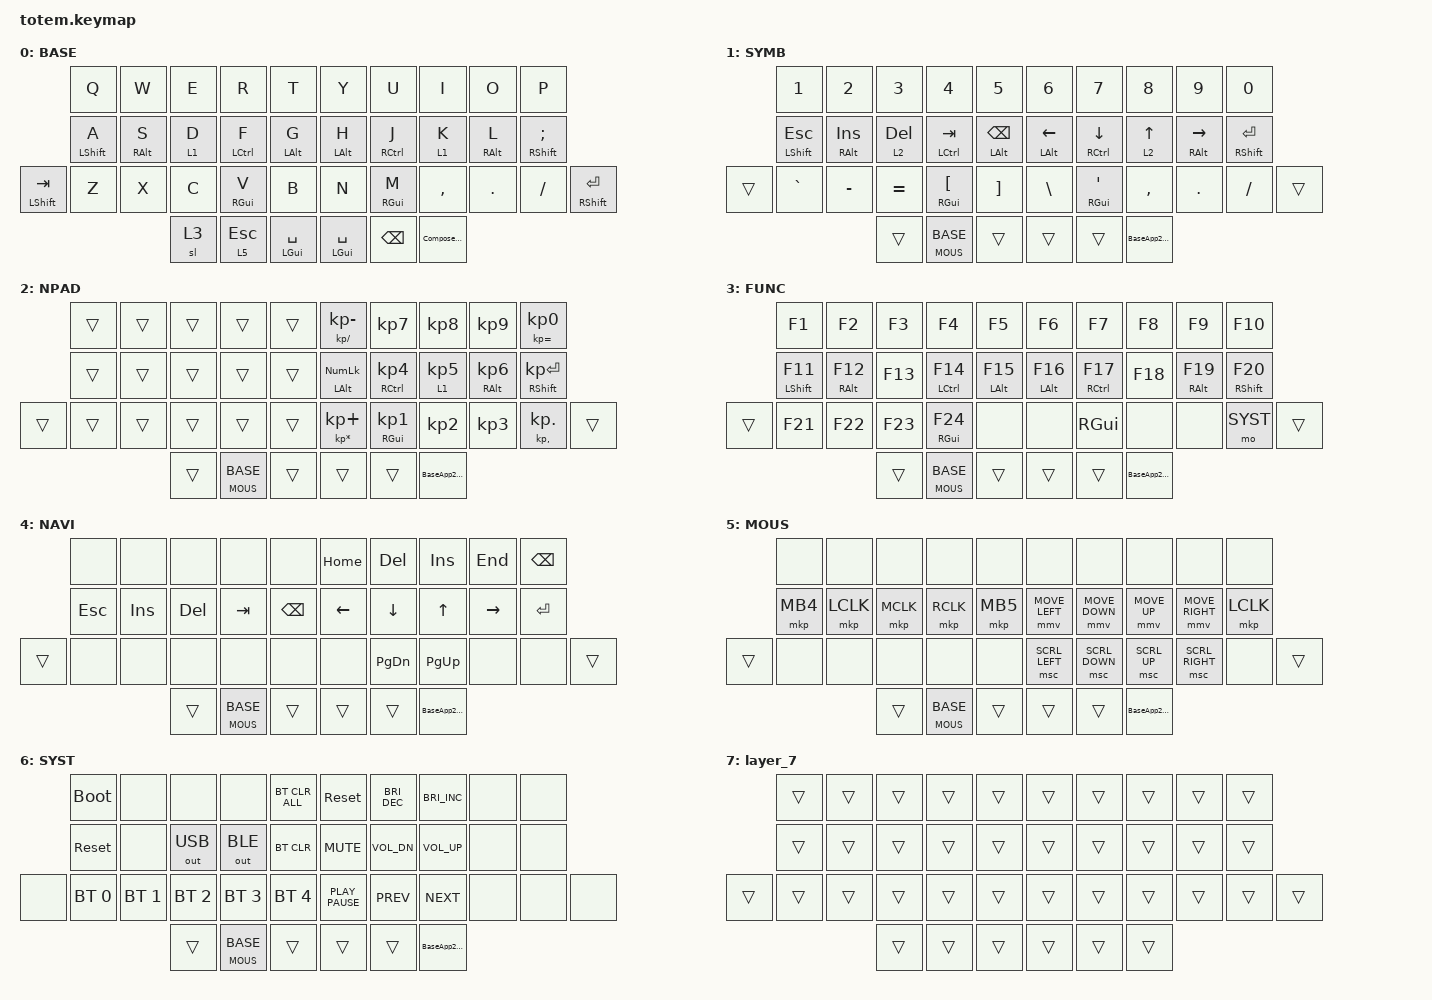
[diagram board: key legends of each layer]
//
//                                                        ▀▀▀▀▀     ▀▀▀▀▀          ▀▀█▀▀
//                                                        ▄▀▀▀▄  ▄  ▄▀▀▀▄  ▄  ▄▀▀▀▄  █  ▄▀▀▀▄
//                                                        █   █  █  █   █  █  █   █  █  █   █
//                                                         ▀▀▀   █   ▀▀▀   █   ▀▀▀   ▀   ▀▀▀
//                                                               █      ▄▄▄█▄▄▄    █   █  
//                                                               ▀      █  █  █     █▄█
//                                                             ▀▀▀▀▀    █  █  █      ▀
//                                                                      ▀  ▀  ▀
//
// ▄▄▄▄▄▄▄▄▄▄▄▄▄▄▄▄▄▄▄▄▄▄▄▄▄▄▄▄▄▄▄▄▄▄▄▄▄▄▄▄▄▄▄▄▄▄▄▄▄▄▄▄▄▄▄▄▄▄▄▄▄▄▄▄▄▄▄▄▄▄▄▄▄▄▄▄▄▄▄▄▄▄▄▄▄▄▄▄▄▄▄▄▄▄▄▄▄▄▄▄▄▄▄▄▄▄▄▄▄▄▄▄▄▄▄▄▄▄▄▄▄▄▄▄▄▄▄▄▄▄▄▄▄▄▄▄▄▄▄▄▄▄▄▄▄▄▄▄▄

#include <behaviors.dtsi>
#include <dt-bindings/zmk/bt.h>
#include <dt-bindings/zmk/keys.h>
#include <dt-bindings/zmk/outputs.h>
#include <dt-bindings/zmk/pointing.h>

#define KEYS_L 0 1 2 3 4  10 11 12 13 14  20 21 22 23 24 25  32 33 34 // left hand
#define KEYS_R 5 6 7 8 9  15 16 17 18 19  26 27 28 29 30 31  35 36 37 // right hand
#define BASE  0
#define SYMB  1
#define NPAD  2
#define FUNC  3
#define NAVI  4
#define MOUS  5
#define SYST  6

/ {
    combos {
        compatible = "zmk,combos";

        combo_caps2 {
            timeout-ms = <100>;
            key-positions = <20 31>; // Combo `right-shift+left-shift`
            bindings = <&kp CAPSLOCK>;
        };

        combo_npad {
            timeout-ms = <100>;
            key-positions = <28 29>; // Combo `,+.`
            bindings = <&to NPAD>;
        };

        combo_boot_left {
            timeout-ms = <100>;
            key-positions = <0 1 2 4>; // Combo `Q+W+E+T`
            bindings = <&bootloader>;
        };

        combo_boot_right {
            timeout-ms = <100>;
            key-positions = <5 7 8 9>; // Combo `Y+I+O+P`
            bindings = <&bootloader>;
        };

        // Cheapino keymap.c combo set (combos 0-5). Replaces the v1.6.0
        // combo_caps_v_esc (V+Esc) and combo_symbol_m_bspc (M+Backspace).

        combo_navi {
            // Cheapino combo 0: Space + Backspace -> one-shot NAVI. NAVI is
            // no longer on a Backspace hold (the nbs behaviour was removed).
            timeout-ms = <100>;
            key-positions = <35 36>; // Combo `thumb Space (right) + thumb Backspace`
            bindings = <&sl NAVI>;
        };

        combo_sys_left {
            // Cheapino combo 1: V + Space -> SYST while held
            timeout-ms = <100>;
            key-positions = <24 34>; // Combo `v + thumb Space (left)`
            bindings = <&mo SYST>;
        };

        combo_sys_right {
            // Cheapino combo 2: M + Space -> SYST while held
            timeout-ms = <100>;
            key-positions = <27 35>; // Combo `m + thumb Space (right)`
            bindings = <&mo SYST>;
        };

        combo_symbol {
            // Cheapino combo 3: Esc + Backspace -> toggle SYMB (TG(3))
            timeout-ms = <100>;
            key-positions = <33 36>; // Combo `thumb Esc + thumb Backspace`
            bindings = <&tog SYMB>;
        };

        combo_caps1 {
            // Cheapino combos 4/5: FUNC + Compose -> Caps Lock (same
            // positions on every layer, so one combo covers both)
            timeout-ms = <100>;
            key-positions = <32 37>; // Combo `fn + compose`
            bindings = <&kp CAPSLOCK>;
        };
    };

    behaviors {
        hml: home_row_mod_left {
            compatible = "zmk,behavior-hold-tap";
            #binding-cells = <2>;
            flavor = "balanced";
            require-prior-idle-ms = <150>;
            tapping-term-ms = <280>;
            quick-tap-ms = <175>;
            bindings = <&kp>, <&kp>;

            hold-trigger-key-positions = <KEYS_R>;
            hold-trigger-on-release;
        };

        hmr: home_row_mod_right {
            compatible = "zmk,behavior-hold-tap";
            #binding-cells = <2>;
            flavor = "balanced";
            require-prior-idle-ms = <150>;
            tapping-term-ms = <280>;
            quick-tap-ms = <175>;
            bindings = <&kp>, <&kp>;

            hold-trigger-key-positions = <KEYS_L>;
            hold-trigger-on-release;
        };

        hml2: home_row_mod_left2 {
            compatible = "zmk,behavior-hold-tap";
            #binding-cells = <2>;
            flavor = "balanced";
            require-prior-idle-ms = <150>;
            tapping-term-ms = <280>;
            quick-tap-ms = <175>;
            bindings = <&mo>, <&kp>;

            // KEYS_R plus 13 (F): same-hand exception so hold [D] (symbol
            // layer) + tap [F] (-> TAB on that layer) resolves instantly
            // instead of waiting out tapping-term-ms. Mirrors hmr2's J
            // exception below. Matches qmk-vial-src-musclememory-cheapino2
            // v1.5.0 chordal_hold.c's D/F exception.
            hold-trigger-key-positions = <KEYS_R 13>;
            hold-trigger-on-release;
        };

        hmr2: home_row_mod_right2 {
            compatible = "zmk,behavior-hold-tap";
            #binding-cells = <2>;
            flavor = "balanced";
            require-prior-idle-ms = <150>;
            tapping-term-ms = <500>;
            quick-tap-ms = <175>;
            bindings = <&mo>, <&kp>;

            // KEYS_L plus 16 (J): same-hand exception so hold [K] (symbol
            // layer) + tap [J] (-> DOWN on that layer) resolves instantly.
            // Mirror of hml2's F exception above, matching
            // qmk-vial-src-musclememory-cheapino2 v1.5.0 chordal_hold.c's
            // K/J exception.
            hold-trigger-key-positions = <KEYS_L 16>;
            hold-trigger-on-release;
        };

        Compose1ToNumpad: Compose1ToNumpad {
            // Cheapino TD(0): tap = Compose (K_APP), hold = Compose,
            // double-tap = toggle NPAD (was &to 2).
            compatible = "zmk,behavior-tap-dance";
            label = "Compose1ToNumpad";
            #binding-cells = <0>;
            bindings = <&kp K_APP>, <&tog NPAD>;

            // Longer window so the second tap still lands despite the ~100ms
            // combo delay on the compose key (combo_caps1, position 37).
            tapping-term-ms = <350>;
        };

        npo: numpad_operator {
            // Numpad arithmetic key: tap = numpad digit/key, hold = secondary
            // operator, tap-then-hold = repeat the numpad key (quick-tap).
            compatible = "zmk,behavior-hold-tap";
            #binding-cells = <2>;
            flavor = "tap-preferred";
            tapping-term-ms = <200>;
            quick-tap-ms = <200>;
            bindings = <&kp>, <&kp>;
        };

        htl: hold_tap_layer {
            // Cheapino TD(2) building block: tap = go to a layer (&to),
            // hold = momentary layer (&mo). Used as `&htl MOUS BASE`.
            compatible = "zmk,behavior-hold-tap";
            #binding-cells = <2>;
            flavor = "tap-preferred";
            tapping-term-ms = <200>;
            bindings = <&mo>, <&to>;
        };

        hkt: hold_key_tap_layer {
            // Cheapino TD(1) building block: tap = go to a layer (&to),
            // hold = key (&kp). Used as `&hkt K_APP BASE`.
            compatible = "zmk,behavior-hold-tap";
            #binding-cells = <2>;
            flavor = "tap-preferred";
            tapping-term-ms = <200>;
            bindings = <&kp>, <&to>;
        };

        BaseApp2Numpad: BaseApp2Numpad {
            // Cheapino TD(1): tap = BASE, hold = Compose (K_APP),
            // double-tap = toggle NPAD. Right outer thumb on non-base layers.
            compatible = "zmk,behavior-tap-dance";
            label = "BaseApp2Numpad";
            #binding-cells = <0>;
            tapping-term-ms = <350>;
            bindings = <&hkt K_APP BASE>, <&tog NPAD>;
        };
    };

    keymap {
        compatible = "zmk,keymap";

        base_layer {
            label = "BASE";
            bindings = <
                 &kp Q          &kp W             &kp E      &kp R         &kp T              &kp Y            &kp U              &kp I              &kp O             &kp P
                 &hml LSHIFT A  &hml RIGHT_ALT S  &hml2 1 D  &hml LCTRL F  &hml LEFT_ALT G    &hmr LEFT_ALT H  &hmr RCTRL J       &hmr2 1 K          &hmr RIGHT_ALT L  &hmr RSHIFT SEMICOLON
&hml LSHIFT TAB  &kp Z          &kp X             &kp C      &hml RGUI V   &kp B              &kp N            &hmr RGUI M        &kp COMMA          &kp DOT           &kp SLASH              &hmr RSHFT ENTER
                                                  &sl 3      &lt 5 ESC     &hmr LGUI SPACE    &hmr LGUI SPACE  &kp BACKSPACE     &Compose1ToNumpad
            >;
        };

        symbols {
            label = "SYMB";
            bindings = <
        &kp NUMBER_1       &kp NUMBER_2        &kp NUMBER_3    &kp NUMBER_4            &kp N5                     &kp NUMBER_6        &kp N7                  &kp N8      &kp N9                &kp N0
        &hml LSHFT ESCAPE  &hml RIGHT_ALT INS  &hml2 2 DELETE  &hml LCTRL TAB          &hml LEFT_ALT BACKSPACE    &hmr LEFT_ALT LEFT  &hmr RCTRL DOWN         &hmr2 2 UP  &hmr RIGHT_ALT RIGHT  &hmr RSHFT ENTER
&trans  &kp GRAVE          &kp MINUS           &kp EQUAL       &hml RGUI LEFT_BRACKET  &kp RIGHT_BRACKET          &kp BACKSLASH       &hmr RGUI SINGLE_QUOTE  &kp COMMA   &kp PERIOD            &kp SLASH         &trans
                                               &trans          &htl MOUS BASE          &trans                     &trans              &trans                  &BaseApp2Numpad
            >;
        };

        numpad {
            label = "NPAD";
            bindings = <
        &trans  &trans  &trans  &trans  &trans    &npo KP_DIVIDE KP_SUBTRACT  &kp KP_NUMBER_7         &kp KP_NUMBER_8      &kp KP_NUMBER_9             &npo KP_EQUAL KP_N0
        &trans  &trans  &trans  &trans  &trans    &hmr LEFT_ALT KP_NUMLOCK    &hmr RCTRL KP_NUMBER_4  &hmr2 1 KP_NUMBER_5  &hmr RIGHT_ALT KP_NUMBER_6  &hmr RSHIFT KP_ENTER
&trans  &trans  &trans  &trans  &trans  &trans    &npo KP_MULTIPLY KP_PLUS    &hmr RGUI KP_NUMBER_1   &kp KP_NUMBER_2      &kp KP_NUMBER_3             &npo KP_COMMA KP_DOT    &trans
                                &trans  &htl MOUS BASE  &trans    &trans  &trans  &BaseApp2Numpad
            >;
        };

        func {
            label = "FUNC";
            bindings = <
        &kp F1           &kp F2              &kp F3   &kp F4          &kp F5               &kp F6             &kp F7          &kp F8   &kp F9              &kp F10
        &hml LSHIFT F11  &hml RIGHT_ALT F12  &kp F13  &hml LCTRL F14  &hml LEFT_ALT F15    &hmr LEFT_ALT F16  &hmr RCTRL F17  &kp F18  &hmr RIGHT_ALT F19  &hmr RSHIFT F20
&trans  &kp F21          &kp F22             &kp F23  &hml RGUI F24   &none                &none              &kp RGUI        &none    &none               &mo SYST         &trans
                                             &trans   &htl MOUS BASE  &trans               &trans             &trans          &BaseApp2Numpad
            >;
        };

        navigation {
            label = "NAVI";
            bindings = <
        &none       &none    &none    &none    &none            &kp HOME  &kp DEL        &kp INS    &kp END    &kp BACKSPACE
        &kp ESCAPE  &kp INS  &kp DEL  &kp TAB  &kp BACKSPACE    &kp LEFT  &kp DOWN       &kp UP     &kp RIGHT  &kp ENTER
&trans  &none       &none    &none    &none    &none            &none     &kp PAGE_DOWN  &kp PG_UP  &none      &none          &trans
                             &trans   &htl MOUS BASE  &trans    &trans    &trans         &BaseApp2Numpad
            >;
        };

        mouse {
            label = "MOUS";
            bindings = <
        &none     &none      &none      &none      &none       &none           &none           &none         &none            &none
        &mkp MB4  &mkp LCLK  &mkp MCLK  &mkp RCLK  &mkp MB5    &mmv MOVE_LEFT  &mmv MOVE_DOWN  &mmv MOVE_UP  &mmv MOVE_RIGHT  &mkp LCLK
&trans  &none     &none      &none      &none      &none       &msc SCRL_LEFT  &msc SCRL_DOWN  &msc SCRL_UP  &msc SCRL_RIGHT  &none      &trans
                             &trans     &htl MOUS BASE  &trans      &trans          &trans          &BaseApp2Numpad
            >;
        };

        system {
            label = "SYST";
            bindings = <
        &bootloader   &none         &none         &none         &bt BT_CLR_ALL  &sys_reset        &kp C_BRIGHTNESS_DEC  &kp C_BRIGHTNESS_INC  &none  &none
        &sys_reset    &none         &out OUT_USB  &out OUT_BLE  &bt BT_CLR      &kp C_MUTE        &kp C_VOL_DN          &kp C_VOL_UP          &none  &none
  &none &bt BT_SEL 0  &bt BT_SEL 1  &bt BT_SEL 2  &bt BT_SEL 3  &bt BT_SEL 4    &kp K_PLAY_PAUSE  &kp K_PREV            &kp C_NEXT            &none  &none  &none
                                             &trans        &htl MOUS BASE  &trans        &trans            &trans                &BaseApp2Numpad
            >;
        };

        layer_7 {
            bindings = <
        &trans  &trans  &trans  &trans  &trans    &trans  &trans  &trans  &trans  &trans
        &trans  &trans  &trans  &trans  &trans    &trans  &trans  &trans  &trans  &trans
&trans  &trans  &trans  &trans  &trans  &trans    &trans  &trans  &trans  &trans  &trans  &trans
                        &trans  &trans  &trans    &trans  &trans  &trans
            >;
        };
    };
};
